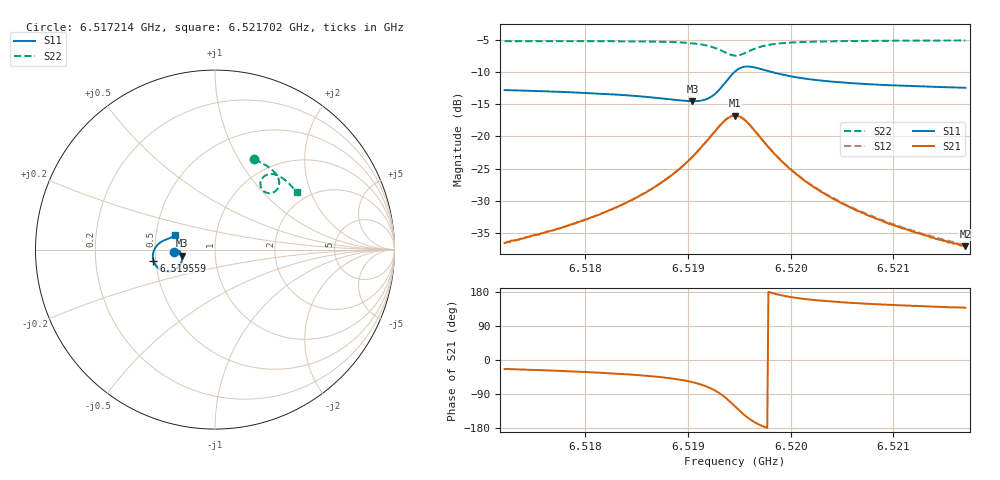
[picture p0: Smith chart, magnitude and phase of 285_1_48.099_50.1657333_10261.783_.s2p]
#  HZ  S  RI  R  50.00
! Rohde & Schwarz Vector Network Analyzer
! Rohde-Schwarz,ZNB20-2Port,1311601062101988,3.16
! Created: UTC 12/23/2023, 4:03:10 AM
! freq[Hz]  re:S11  im:S11  re:S21  im:S21  re:S12  im:S12  re:S22  im:S22
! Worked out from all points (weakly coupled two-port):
!   401 points, 6.517214 GHz to 6.521702 GHz, reference 50 ohm
!   highest |S21| = -16.75 dB at 6.519458 GHz (marker M1); lowest = -37.0 dB at 6.521702 GHz (marker M2)
!   lowest |S11| = -14.5 dB at 6.519043 GHz (marker M3), VSWR 1.46, Z = 34.3 - j2.38 ohm
!   |S11| at or under -10 dB: start of sweep to 6.519452 GHz; 6.519816 GHz to end of sweep
!   |S22| runs from -7.5 to -5.1 dB; largest |S21 - S12| = 0.0044
!   S11 on the Smith chart (normalised r, x): 6.517214 GHz: 0.63, -0.02; 6.519559 GHz: 0.49, -0.07; 6.521702 GHz: 0.63, +0.10
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6.5172142e9  -0.2287 -0.0127  0.0137 -0.00605  0.0139 -0.00545  0.2185 0.5034
6.5176966e9  -0.2228 -0.00602  0.0166 -0.0089  0.0168 -0.00835  0.254 0.4868
6.5179658e9  -0.2184 -0.00355  0.0189 -0.0116  0.0192 -0.0109  0.2739 0.4758
6.5183809e9  -0.2094 -0.00247  0.0241 -0.0183  0.0244 -0.0176  0.3051 0.4549
6.5187175e9  -0.1984 -0.00813  0.0303 -0.03  0.0313 -0.0292  0.3314 0.4313
6.518897e9  -0.1907 -0.0177  0.0342 -0.0423  0.0357 -0.0415  0.3452 0.4129
6.5190429e9  -0.1848 -0.0335  0.0362 -0.0592  0.0382 -0.0584  0.355 0.3917
6.519155e9  -0.1839 -0.0551  0.0335 -0.08  0.0361 -0.0794  0.3579 0.3683
6.5192336e9  -0.1901 -0.077  0.0244 -0.0998  0.0277 -0.0999  0.3533 0.3479
6.5192897e9  -0.2024 -0.0957  0.0107 -0.1158  0.0142 -0.1163  0.3433 0.332
6.5193682e9  -0.2372 -0.1186  -0.0237 -0.1326  -0.02 -0.1343  0.3159 0.3159
6.519458e9  -0.2981 -0.1145  -0.0779 -0.1227  -0.0752 -0.1258  0.2734 0.3241
6.5195028e9  -0.3245 -0.0949  -0.0992 -0.1026  -0.0971 -0.1062  0.2587 0.3415
6.5195589e9  -0.3429 -0.0617  -0.1118 -0.0716  -0.1107 -0.0754  0.2525 0.3674
6.5196711e9  -0.3401 -0.00433  -0.1031 -0.0228  -0.1033 -0.026  0.2701 0.405
6.5197833e9  -0.3203 0.0266  -0.0825 0.0003  -0.0834 -0.00208  0.2961 0.419
6.5199965e9  -0.2893 0.0489  -0.0541 0.0131  -0.0551 0.0119  0.334 0.4183
6.5202096e9  -0.2705 0.0569  -0.0385 0.0148  -0.0394 0.0141  0.3596 0.4082
6.5205574e9  -0.2527 0.0634  -0.0253 0.0138  -0.026 0.0133  0.3895 0.3882
6.5209613e9  -0.2403 0.0691  -0.0174 0.0119  -0.0181 0.0117  0.4163 0.3639
6.5212866e9  -0.2331 0.0736  -0.0137 0.0106  -0.0141 0.0105  0.4347 0.3443
6.5217017e9  -0.2253 0.0791  -0.0104 0.00947  -0.0109 0.00939  0.4559 0.3183
